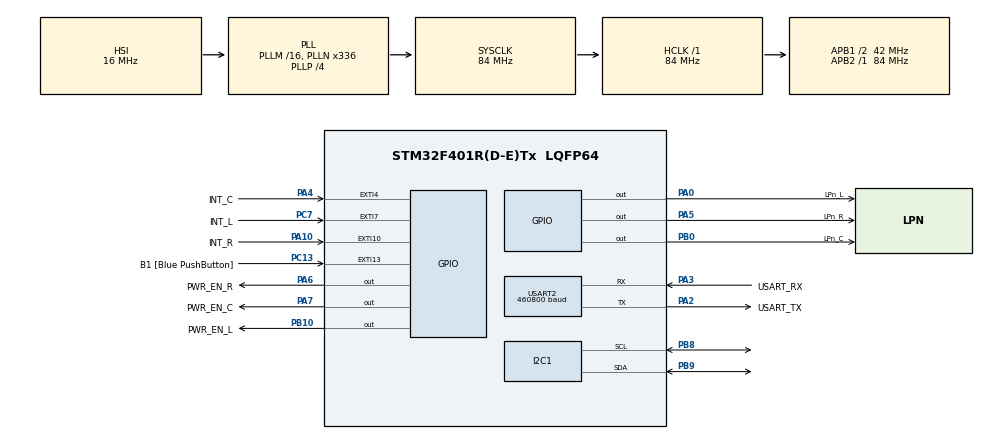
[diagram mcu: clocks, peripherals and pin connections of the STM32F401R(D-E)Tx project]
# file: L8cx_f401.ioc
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I2C1.I2C_Mode=I2C_Fast
Mcu.Family=STM32F4
Mcu.Name=STM32F401R(D-E)Tx
Mcu.Package=LQFP64
NVIC.EXTI15_10_IRQn=true\:0\:0\:false\:false\:true\:true\:true\:true
NVIC.EXTI4_IRQn=true\:0\:0\:false\:false\:true\:true\:true\:true
NVIC.EXTI9_5_IRQn=true\:0\:0\:false\:false\:true\:true\:true\:true
NVIC.PriorityGroup=NVIC_PRIORITYGROUP_0
PA0-WKUP.GPIO_Label=LPn_L
PA0-WKUP.GPIO_PuPd=GPIO_NOPULL
PA0-WKUP.GPIO_Speed=GPIO_SPEED_FREQ_HIGH
PA0-WKUP.PinState=GPIO_PIN_RESET
PA0-WKUP.Signal=GPIO_Output
PA10.GPIO_Label=INT_R
PA10.Signal=GPXTI10
PA13.GPIO_Label=TMS
PA13.Mode=Serial_Wire
PA13.Signal=SYS_JTMS-SWDIO
PA14.GPIO_Label=TCK
PA14.Mode=Serial_Wire
PA14.Signal=SYS_JTCK-SWCLK
PA2.GPIO_Label=USART_TX
PA2.GPIO_Mode=GPIO_MODE_AF_PP
PA2.GPIO_PuPd=GPIO_NOPULL
PA2.GPIO_Speed=GPIO_SPEED_FREQ_LOW
PA2.Mode=Asynchronous
PA2.Signal=USART2_TX
PA3.GPIO_Label=USART_RX
PA3.GPIO_Mode=GPIO_MODE_AF_PP
PA3.GPIO_PuPd=GPIO_NOPULL
PA3.GPIO_Speed=GPIO_SPEED_FREQ_LOW
PA3.Mode=Asynchronous
PA3.Signal=USART2_RX
PA4.GPIO_Label=INT_C
PA4.GPIO_ModeDefaultEXTI=GPIO_MODE_IT_FALLING
PA4.GPIO_PuPd=GPIO_NOPULL
PA4.Signal=GPXTI4
PA5.GPIO_Label=LPn_R
PA5.Signal=GPIO_Output
PA6.GPIO_Label=PWR_EN_R
PA6.Signal=GPIO_Output
PA7.GPIO_Label=PWR_EN_C
PA7.PinState=GPIO_PIN_RESET
PA7.Signal=GPIO_Output
PB0.GPIO_Label=LPn_C
PB0.GPIO_ModeDefaultOutputPP=GPIO_MODE_OUTPUT_PP
PB0.GPIO_PuPd=GPIO_NOPULL
PB0.GPIO_Speed=GPIO_SPEED_FREQ_HIGH
PB0.PinState=GPIO_PIN_RESET
PB0.Signal=GPIO_Output
PB10.GPIO_Label=PWR_EN_L
PB10.GPIO_PuPd=GPIO_NOPULL
PB10.GPIO_Speed=GPIO_SPEED_FREQ_HIGH
PB10.PinState=GPIO_PIN_RESET
PB10.Signal=GPIO_Output
PB8.GPIO_Pu=GPIO_PULLUP
PB8.Mode=I2C
PB8.Signal=I2C1_SCL
PB9.GPIO_Pu=GPIO_PULLUP
PB9.Mode=I2C
PB9.Signal=I2C1_SDA
PC13-ANTI_TAMP.GPIO_Label=B1 [Blue PushButton]
PC13-ANTI_TAMP.GPIO_ModeDefaultEXTI=GPIO_MODE_IT_FALLING
PC13-ANTI_TAMP.GPIO_PuPd=GPIO_NOPULL
PC13-ANTI_TAMP.Signal=GPXTI13
PC14-OSC32_IN.Mode=LSE-External-Oscillator
PC14-OSC32_IN.Signal=RCC_OSC32_IN
PC15-OSC32_OUT.Mode=LSE-External-Oscillator
PC15-OSC32_OUT.Signal=RCC_OSC32_OUT
PC7.GPIO_Label=INT_L
PC7.GPIO_ModeDefaultEXTI=GPIO_MODE_IT_FALLING
PC7.Signal=GPXTI7
PH0\ -\ OSC_IN.Mode=HSE-External-Clock-Source
PH0\ -\ OSC_IN.Signal=RCC_OSC_IN
PH1\ -\ OSC_OUT.Mode=HSE-External-Clock-Source
PH1\ -\ OSC_OUT.Signal=RCC_OSC_OUT
ProjectManager.HeapSize=0x200
ProjectManager.StackSize=0x400
ProjectManager.TargetToolchain=STM32CubeIDE
RCC.48MHZClocksFreq_Value=48000000
RCC.AHBFreq_Value=84000000
RCC.APB1CLKDivider=RCC_HCLK_DIV2
RCC.APB1Freq_Value=42000000
RCC.APB1TimFreq_Value=84000000
RCC.APB2Freq_Value=84000000
RCC.APB2TimFreq_Value=84000000
RCC.CortexFreq_Value=84000000
RCC.HCLKFreq_Value=84000000
RCC.HSE_VALUE=8000000
RCC.HSI_VALUE=16000000
RCC.PLLN=336
RCC.PLLP=RCC_PLLP_DIV4
RCC.PLLQ=7
RCC.SYSCLKFreq_VALUE=84000000
RCC.SYSCLKSource=RCC_SYSCLKSOURCE_PLLCLK
RCC.VCOOutputFreq_Value=336000000
USART2.BaudRate=460800
USART2.VirtualMode=VM_ASYNC
board=NUCLEO-F401RE

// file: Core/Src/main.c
/* USER CODE BEGIN Header */
/**
 ******************************************************************************
 * @file           : main.c
 * @brief          : Main program body
 ******************************************************************************
 * @attention
 *
 * <h2><center>&copy; Copyright (c) 2023 STMicroelectronics.
 * All rights reserved.</center></h2>
 *
 * This software component is licensed by ST under BSD 3-Clause license,
 * the "License"; You may not use this file except in compliance with the
 * License. You may obtain a copy of the License at:
 *                        opensource.org/licenses/BSD-3-Clause
 *
 ******************************************************************************
 */
/* USER CODE END Header */
#include "main.h"

/* USER CODE BEGIN Includes */
#include <stdio.h>
#include "vl53l8cx_api.h"
/* USER CODE END Includes */

/* USER CODE BEGIN PD */
#define is_interrupt 0 /*is_interrupt = 1 => get data by interrupt, = 0 => get data by polling */

/* USER CODE END PD */

I2C_HandleTypeDef hi2c1;

UART_HandleTypeDef huart2;

/* USER CODE BEGIN PV */
#define MODE_4x4 1
#define MODE_8x8 2
int currentMode = MODE_8x8;

int status;
volatile int IntCount;
uint32_t integration_time_ms;
uint8_t p_data_ready;
VL53L8CX_Configuration Dev;
VL53L8CX_ResultsData Results;
uint8_t resolution, isAlive;
uint16_t idx;
/* USER CODE END PV */

void SystemClock_Config(void);
static void MX_GPIO_Init(void);
static void MX_I2C1_Init(void);
static void MX_USART2_UART_Init(void);
/* USER CODE BEGIN PFP */

void get_data_by_polling(VL53L8CX_Configuration* p_dev);
void get_data_by_interrupt(VL53L8CX_Configuration* p_dev);

#ifdef __GNUC__
#define PUTCHAR_PROTOTYPE int __io_putchar(int ch)
#else
#define PUTCHAR_PROTOTYPE int fputc(int ch, FILE *f)

#endif

PUTCHAR_PROTOTYPE
{
	HAL_UART_Transmit(&huart2, (uint8_t*)&ch, 1, 0xFFFF);
	return ch;
}

/* USER CODE END PFP */

/* USER CODE BEGIN 0 */
void HAL_GPIO_EXTI_Callback(uint16_t GPIO_Pin)
{
	if (GPIO_Pin == INT_C_Pin)
	{
		IntCount++;
	}
}

/* USER CODE END 0 */

int main(void)
{

	/* MCU Configuration--------------------------------------------------------*/

	/* Reset of all peripherals, Initializes the Flash interface and the Systick. */
	HAL_Init();

	/* Configure the system clock */
	SystemClock_Config();

	/* Initialize all configured peripherals */
	MX_GPIO_Init();
	MX_I2C1_Init();
	MX_USART2_UART_Init();
	/* USER CODE BEGIN 2 */
	printf("-- starting in mode %d\r\n", currentMode);

	Dev.platform.address = VL53L8CX_DEFAULT_I2C_ADDRESS;

	Reset_Sensor(&(Dev.platform));

	status = vl53l8cx_is_alive(&Dev, &isAlive);
	if (!isAlive)
	{
		printf("VL53L8CX not detected at requested address (0x%x)\r\n", Dev.platform.address);
		return 255;
	}
	printf("Sensor initializing, please wait few seconds\r\n");
	status = vl53l8cx_init(&Dev);

	if (currentMode == MODE_8x8)
	{
		status = vl53l8cx_set_resolution(&Dev, VL53L8CX_RESOLUTION_8X8);
		if (status)
		{
			printf("vl53l8cx_set_resolution failed, status %u\n", status);
			return status;
		}
	}

	// TODO: if MODE_8x8 set 15 else 60
	if (currentMode == MODE_8x8)
	{
		status = vl53l8cx_set_ranging_frequency_hz(&Dev, 15); // 8x8
	}
	else
	{
		status = vl53l8cx_set_ranging_frequency_hz(&Dev, 45); // 4x4
	}

	status = vl53l8cx_set_ranging_mode(&Dev, VL53L8CX_RANGING_MODE_CONTINUOUS); // Set mode continuous

#ifdef TARGET_MODE
	status = vl53l8cx_set_target_order(&Dev, VL53L8CX_TARGET_ORDER_CLOSEST);
	if(status) {
		printf("vl53l8cx_set_target_order failed, status %u\n", status);
		return status;
	}
#endif

	/* Get current integration time */
	status = vl53l8cx_get_integration_time_ms(&Dev, &integration_time_ms);
	if (status)
	{
		printf("vl53l8cx_get_integration_time_ms failed, status %u\n", status);
		return status;
	}
	printf("Current integration time is : %d ms\n", (int)integration_time_ms);

	printf("Ranging starts\r\n");
	status = vl53l8cx_start_ranging(&Dev);

	printf("Zone;Nb targets;Ambient (Kcps/spads);Target Status;Distance (mm);\r\n");

	/* USER CODE END 2 */

	/* Infinite loop */
	/* USER CODE BEGIN WHILE */

	if (is_interrupt)
	{
		get_data_by_interrupt(&Dev);
	}
	else
	{
		get_data_by_polling(&Dev);
	}

	/* USER CODE END WHILE */

}

void SystemClock_Config(void)
{
	printf("SystemClock_Config \r\n");
	RCC_OscInitTypeDef RCC_OscInitStruct = {0};
	RCC_ClkInitTypeDef RCC_ClkInitStruct = {0};

	/** Configure the main internal regulator output voltage
	 */
	__HAL_RCC_PWR_CLK_ENABLE();
	__HAL_PWR_VOLTAGESCALING_CONFIG(PWR_REGULATOR_VOLTAGE_SCALE2);

	/** Initializes the RCC Oscillators according to the specified parameters
	 * in the RCC_OscInitTypeDef structure.
	 */
	RCC_OscInitStruct.OscillatorType = RCC_OSCILLATORTYPE_HSI;
	RCC_OscInitStruct.HSIState = RCC_HSI_ON;
	RCC_OscInitStruct.HSICalibrationValue = RCC_HSICALIBRATION_DEFAULT;
	RCC_OscInitStruct.PLL.PLLState = RCC_PLL_ON;
	RCC_OscInitStruct.PLL.PLLSource = RCC_PLLSOURCE_HSI;
	RCC_OscInitStruct.PLL.PLLM = 16;
	RCC_OscInitStruct.PLL.PLLN = 336;
	RCC_OscInitStruct.PLL.PLLP = RCC_PLLP_DIV4;
	RCC_OscInitStruct.PLL.PLLQ = 7;
	HAL_StatusTypeDef hal_status = HAL_RCC_OscConfig(&RCC_OscInitStruct);
	if (hal_status != HAL_OK)
	{
		printf("HAL Clock ERROR : %d", hal_status);
		Error_Handler();
	}

	/** Initializes the CPU, AHB and APB buses clocks
	 */
	RCC_ClkInitStruct.ClockType = RCC_CLOCKTYPE_HCLK | RCC_CLOCKTYPE_SYSCLK | RCC_CLOCKTYPE_PCLK1 | RCC_CLOCKTYPE_PCLK2;
	RCC_ClkInitStruct.SYSCLKSource = RCC_SYSCLKSOURCE_PLLCLK;
	RCC_ClkInitStruct.AHBCLKDivider = RCC_SYSCLK_DIV1;
	RCC_ClkInitStruct.APB1CLKDivider = RCC_HCLK_DIV2;
	RCC_ClkInitStruct.APB2CLKDivider = RCC_HCLK_DIV1;

	if (HAL_RCC_ClockConfig(&RCC_ClkInitStruct, FLASH_LATENCY_2) != HAL_OK)
	{
		Error_Handler();
	}
}

static void MX_I2C1_Init(void)
{

	hi2c1.Instance = I2C1;
	hi2c1.Init.ClockSpeed = 400000;
	hi2c1.Init.DutyCycle = I2C_DUTYCYCLE_2;
	hi2c1.Init.OwnAddress1 = 0;
	hi2c1.Init.AddressingMode = I2C_ADDRESSINGMODE_7BIT;
	hi2c1.Init.DualAddressMode = I2C_DUALADDRESS_DISABLE;
	hi2c1.Init.OwnAddress2 = 0;
	hi2c1.Init.GeneralCallMode = I2C_GENERALCALL_DISABLE;
	hi2c1.Init.NoStretchMode = I2C_NOSTRETCH_DISABLE;
	if (HAL_I2C_Init(&hi2c1) != HAL_OK)
	{
		Error_Handler();
	}
}

static void MX_USART2_UART_Init(void)
{

	huart2.Instance = USART2;
	huart2.Init.BaudRate = 460800;
	huart2.Init.WordLength = UART_WORDLENGTH_8B;
	huart2.Init.StopBits = UART_STOPBITS_1;
	huart2.Init.Parity = UART_PARITY_NONE;
	huart2.Init.Mode = UART_MODE_TX_RX;
	huart2.Init.HwFlowCtl = UART_HWCONTROL_NONE;
	huart2.Init.OverSampling = UART_OVERSAMPLING_16;
	if (HAL_UART_Init(&huart2) != HAL_OK)
	{
		Error_Handler();
	}
}

static void MX_GPIO_Init(void)
{
	GPIO_InitTypeDef GPIO_InitStruct = {0};

	/* GPIO Ports Clock Enable */
	__HAL_RCC_GPIOC_CLK_ENABLE();
	__HAL_RCC_GPIOH_CLK_ENABLE();
	__HAL_RCC_GPIOA_CLK_ENABLE();
	__HAL_RCC_GPIOB_CLK_ENABLE();

	/*Configure GPIO pin Output Level */
	HAL_GPIO_WritePin(GPIOA, LPn_L_Pin | LPn_R_Pin | PWR_EN_R_Pin | PWR_EN_C_Pin, GPIO_PIN_RESET);

	/*Configure GPIO pin Output Level */
	HAL_GPIO_WritePin(GPIOB, LPn_C_Pin | PWR_EN_L_Pin, GPIO_PIN_RESET);

	/*Configure GPIO pins : B1_Pin INT_L_Pin */
	GPIO_InitStruct.Pin = B1_Pin | INT_L_Pin;
	GPIO_InitStruct.Mode = GPIO_MODE_IT_FALLING;
	GPIO_InitStruct.Pull = GPIO_NOPULL;
	HAL_GPIO_Init(GPIOC, &GPIO_InitStruct);

	/*Configure GPIO pin : LPn_L_Pin */
	GPIO_InitStruct.Pin = LPn_L_Pin;
	GPIO_InitStruct.Mode = GPIO_MODE_OUTPUT_PP;
	GPIO_InitStruct.Pull = GPIO_NOPULL;
	GPIO_InitStruct.Speed = GPIO_SPEED_FREQ_HIGH;
	HAL_GPIO_Init(LPn_L_GPIO_Port, &GPIO_InitStruct);

	/*Configure GPIO pin : INT_C_Pin */
	GPIO_InitStruct.Pin = INT_C_Pin;
	GPIO_InitStruct.Mode = GPIO_MODE_IT_FALLING;
	GPIO_InitStruct.Pull = GPIO_NOPULL;
	HAL_GPIO_Init(INT_C_GPIO_Port, &GPIO_InitStruct);

	/*Configure GPIO pins : LPn_R_Pin PWR_EN_R_Pin PWR_EN_C_Pin */
	GPIO_InitStruct.Pin = LPn_R_Pin | PWR_EN_R_Pin | PWR_EN_C_Pin;
	GPIO_InitStruct.Mode = GPIO_MODE_OUTPUT_PP;
	GPIO_InitStruct.Pull = GPIO_NOPULL;
	GPIO_InitStruct.Speed = GPIO_SPEED_FREQ_LOW;
	HAL_GPIO_Init(GPIOA, &GPIO_InitStruct);

	/*Configure GPIO pins : LPn_C_Pin PWR_EN_L_Pin */
	GPIO_InitStruct.Pin = LPn_C_Pin | PWR_EN_L_Pin;
	GPIO_InitStruct.Mode = GPIO_MODE_OUTPUT_PP;
	GPIO_InitStruct.Pull = GPIO_NOPULL;
	GPIO_InitStruct.Speed = GPIO_SPEED_FREQ_HIGH;
	HAL_GPIO_Init(GPIOB, &GPIO_InitStruct);

	/*Configure GPIO pin : INT_R_Pin */
	GPIO_InitStruct.Pin = INT_R_Pin;
	GPIO_InitStruct.Mode = GPIO_MODE_IT_RISING;
	GPIO_InitStruct.Pull = GPIO_NOPULL;
	HAL_GPIO_Init(INT_R_GPIO_Port, &GPIO_InitStruct);

	/* EXTI interrupt init*/
	HAL_NVIC_SetPriority(EXTI4_IRQn, 0, 0);
	HAL_NVIC_EnableIRQ(EXTI4_IRQn);

	HAL_NVIC_SetPriority(EXTI9_5_IRQn, 0, 0);
	HAL_NVIC_EnableIRQ(EXTI9_5_IRQn);

	HAL_NVIC_SetPriority(EXTI15_10_IRQn, 0, 0);
	HAL_NVIC_EnableIRQ(EXTI15_10_IRQn);

}

/* USER CODE BEGIN 4 */

void get_data_by_interrupt(VL53L8CX_Configuration* p_dev)
{
	do
	{
		__WFI(); // Wait for interrupt
		if (IntCount != 0)
		{
			IntCount = 0;
			status = vl53l8cx_get_resolution(p_dev, &resolution);
			status = vl53l8cx_get_ranging_data(p_dev, &Results);

			for (int i = 0; i < resolution; i++)
			{
				/* Print per zone results */
				printf('Zone:%2d, Nbtargets: %2u, Ambient: %4luKcps/spads, ', i, Results.nb_target_detected[i],
				       Results.ambient_per_spad[i]);

				/* Print per target results */
				if (Results.nb_target_detected[i] > 0)
				{
					printf("Target status : %3u, Distance : %4d mm\r\n",
					       Results.target_status[VL53L8CX_NB_TARGET_PER_ZONE * i],
					       Results.distance_mm[VL53L8CX_NB_TARGET_PER_ZONE * i]);
				}
				else
				{
					printf("Target status : 255, Distance : No target\r\n");
				}
			}
			printf("\n");
		}
	}
	while (1);
}

void get_data_by_polling(VL53L8CX_Configuration* p_dev)
{
	do
	{
		status = vl53l8cx_check_data_ready(&Dev, &p_data_ready);
		if (p_data_ready)
		{
			status = vl53l8cx_get_resolution(p_dev, &resolution);
			status = vl53l8cx_get_ranging_data(p_dev, &Results);

			// TODO: add to outBuffer
			printf(";;;;;\r\n");

			for (int i = 0; i < resolution; i++)
			{
				/* Print per zone results */
				printf("%d;%u;%lu;", i, Results.nb_target_detected[i], Results.ambient_per_spad[i]);

				/* Print per target results */
				if (Results.nb_target_detected[i] > 0)
				{
					printf("%u;%d;\r\n", Results.target_status[VL53L8CX_NB_TARGET_PER_ZONE * i],
					       Results.distance_mm[VL53L8CX_NB_TARGET_PER_ZONE * i]);
				}
				else
				{
					printf(";255;-;\r\n");
				}
			}

			// printf(outBuffer);
		}
		else
		{
			HAL_Delay(5);
		}
	}
	while (1);
}

/* USER CODE END 4 */

void Error_Handler(void)
{
	/* USER CODE BEGIN Error_Handler_Debug */
	/* User can add his own implementation to report the HAL error return state */
	// __disable_irq();
	// while (1)
	// {
	// }
	/* USER CODE END Error_Handler_Debug */
}
